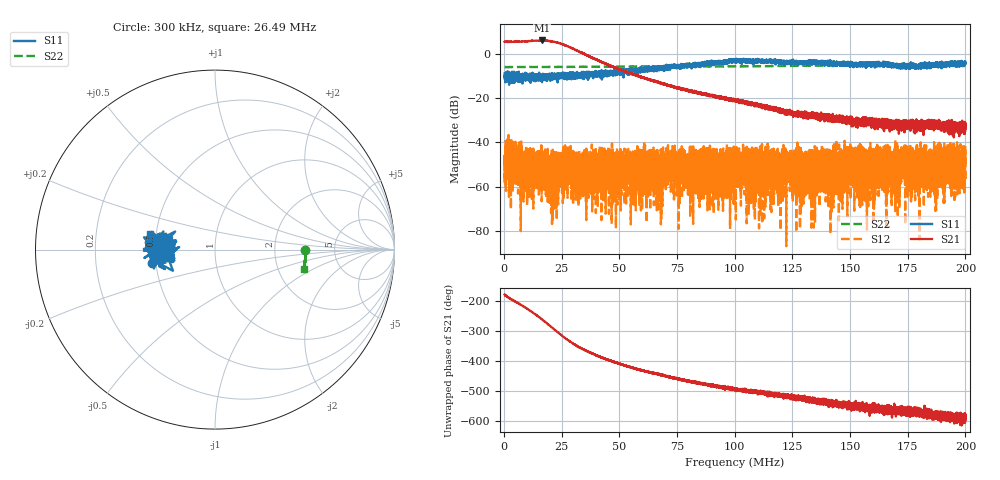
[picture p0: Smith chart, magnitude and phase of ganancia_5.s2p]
# Hz S DB R 50
! CMT, M5065, 19127446, 24.2.4/2
! Date: 10/29/2024 11:51:16 AM
! Data: Format (Calibration Info)
! Freq	S11:dB/Ang(F2)	S21:dB/Ang(F2)	S12:dB/Ang(F2)	S22:dB/Ang(F2)
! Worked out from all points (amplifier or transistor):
!   9000 points, 300 kHz to 200 MHz, reference 50 ohm
!   highest |S21| = 6.1 dB at 16.46 MHz (marker M1)
!   |S21| within 3 dB of that: start of sweep to 28.47 MHz
!   unconditionally stable (mu >= 1): start of sweep to end of sweep
!   at 33.59 MHz: K = 101.62, MAG = 2.4 dB, |S12| = -50.4 dB
!   at 100.2 MHz: K = 764.52, MAG = -16.5 dB, |S12| = -51.6 dB
!   at 200 MHz: K = 4650.36, MAG = -27.9 dB, |S12| = -55.4 dB
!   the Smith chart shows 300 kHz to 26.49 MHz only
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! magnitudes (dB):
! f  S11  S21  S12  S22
! 300 kHz  -8.9  5.4  -49.1  -6.0
! 16.46 MHz  -10.9  6.1  -53.4  -5.9
! 22.87 MHz  -10.5  5.1  -55.4  -5.9
! 25.49 MHz  -10.0  4.3  -46.2  -5.9
! 33.59 MHz  -9.3  0.6  -50.4  -5.9
! 63.88 MHz  -7.2  -11.9  -54.0  -5.7
! 66.87 MHz  -6.8  -12.9  -48.5  -5.7
! 71.31 MHz  -5.9  -14.2  -54.4  -5.7
! 75.28 MHz  -6.0  -15.4  -55.9  -5.7
! 77.35 MHz  -5.9  -16.2  -46.7  -5.7
! 81.01 MHz  -4.9  -17.0  -47.8  -5.6
! 86.05 MHz  -5.2  -18.2  -45.0  -5.6
! 94.95 MHz  -4.3  -19.7  -71.0  -5.6
! 100.2 MHz  -3.0  -21.0  -51.6  -5.6
! 112.8 MHz  -3.0  -23.9  -50.7  -5.6
! 115.3 MHz  -3.3  -24.2  -49.8  -5.5
! 133.4 MHz  -3.4  -26.4  -46.5  -5.4
! 166.7 MHz  -4.6  -31.9  -52.0  -5.3
! 192.5 MHz  -4.6  -32.0  -52.5  -5.5
! 194.8 MHz  -5.2  -33.4  -49.4  -5.5
! 198 MHz  -4.9  -33.4  -57.9  -5.5
! 200 MHz  -3.6  -31.9  -55.4  -5.5
